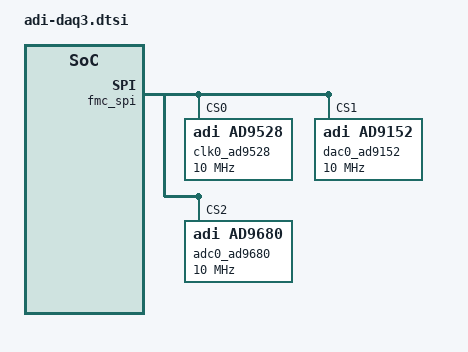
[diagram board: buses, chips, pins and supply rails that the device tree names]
// SPDX-License-Identifier: GPL-2.0
/*
 * Analog Devices AD-FMCDAQ3-EBZ
 * https://wiki.analog.com/resources/eval/user-guides/ad-fmcdaq3-ebz
 *
 * board_revision: <Rev.C>
 *
 * Copyright (C) 2018-2022 Analog Devices Inc.
 */
#include <dt-bindings/iio/frequency/ad9528.h>
#include <dt-bindings/iio/adc/adi,ad9208.h>

&fmc_spi {
	clk0_ad9528: ad9528@0 {
		#address-cells = <1>;
		#size-cells = <0>;
		compatible = "adi,ad9528";

		spi-cpol;
		spi-cpha;
		spi-max-frequency = <10000000>;
		adi,spi-3wire-enable;
		reg = <0>;

		clock-output-names = "ad9528_out0", "ad9528_out1", "ad9528_out2", "ad9528_out3", "ad9528_out4", "ad9528_out5", "ad9528_out6", "ad9528_out7", "ad9528_out8", "ad9528_out9", "ad9528_out10", "ad9528_out11", "ad9528_out12", "ad9528_out13";
		#clock-cells = <1>;

		adi,vcxo-freq = <100000000>;

		jesd204-device;
		#jesd204-cells = <2>;
		jesd204-sysref-provider;

		/* PLL1 config */
		adi,pll1-bypass-enable;
		adi,osc-in-diff-enable;

		/* PLL2 config */
		/*
		 * Valid ranges based on VCO locking range:
		 *   1150.000 MHz - 1341.666 MHz
		 *    862.500 MHz - 1006.250 MHz
		 *    690.000 MHz -  805.000 MHz
		 */
		adi,pll2-m1-frequency = <1233333333>;
		adi,pll2-charge-pump-current-nA = <35000>;

		/* SYSREF config */
		adi,sysref-src = <SYSREF_SRC_INTERNAL>;
		adi,sysref-k-div = <64>;
		adi,sysref-pattern-mode = <SYSREF_PATTERN_CONTINUOUS>;

		adi,rpole2 = <RPOLE2_900_OHM>;
		adi,rzero = <RZERO_1850_OHM>;
		adi,cpole1 = <CPOLE1_16_PF>;

		ad9528_0_c2: channel@2 {
			reg = <2>;
			adi,extended-name = "DAC_CLK";
			adi,driver-mode = <DRIVER_MODE_LVDS>;
			adi,divider-phase = <0>;
			adi,channel-divider = <1>;
			adi,signal-source = <SOURCE_VCO>;
		};

		ad9528_0_c4: channel@4 {
			reg = <4>;
			adi,extended-name = "DAC_CLK_FMC";
			adi,driver-mode = <DRIVER_MODE_LVDS>;
			adi,divider-phase = <0>;
			adi,channel-divider = <4>;
			adi,signal-source = <SOURCE_VCO>;
		};

		ad9528_0_c5: channel@5 {
			reg = <5>;
			adi,extended-name = "DAC_SYSREF";
			adi,driver-mode = <DRIVER_MODE_LVDS>;
			adi,divider-phase = <0>;
			adi,channel-divider = <4>;
			adi,signal-source = <SOURCE_SYSREF_VCO>;
			adi,jesd204-sysref-chan;
		};

		ad9528_0_c6: channel@6 {
			reg = <6>;
			adi,extended-name = "CLKD_DAC_SYSREF";
			adi,driver-mode = <DRIVER_MODE_LVDS>;
			adi,divider-phase = <0>;
			adi,channel-divider = <4>;
			adi,signal-source = <SOURCE_SYSREF_VCO>;
			adi,jesd204-sysref-chan;
		};

		ad9528_0_c7: channel@7 {
			reg = <7>;
			adi,extended-name = "CLKD_ADC_SYSREF";
			adi,driver-mode = <DRIVER_MODE_LVDS>;
			adi,divider-phase = <0>;
			adi,channel-divider = <4>;
			adi,signal-source = <SOURCE_SYSREF_VCO>;
			adi,jesd204-sysref-chan;
		};

		ad9528_0_c8: channel@8 {
			reg = <8>;
			adi,extended-name = "ADC_SYSREF";
			adi,driver-mode = <DRIVER_MODE_LVDS>;
			adi,divider-phase = <0>;
			adi,channel-divider = <4>;
			adi,signal-source = <SOURCE_SYSREF_VCO>;
			adi,jesd204-sysref-chan;
		};

		ad9528_0_c9: channel@9 {
			reg = <9>;
			adi,extended-name = "ADC_CLK_FMC";
			adi,driver-mode = <DRIVER_MODE_LVDS>;
			adi,divider-phase = <0>;
			adi,channel-divider = <4>;
			adi,signal-source = <SOURCE_VCO>;
		};

		ad9528_0_c13: channel@13 {
			reg = <13>;
			adi,extended-name = "ADC_CLK";
			adi,driver-mode = <DRIVER_MODE_LVDS>;
			adi,divider-phase = <0>;
			adi,channel-divider = <1>;
			adi,signal-source = <SOURCE_VCO>;
		};
	};

	dac0_ad9152: ad9152@1 {
		#address-cells = <1>;
		#size-cells = <0>;
		compatible = "adi,ad9152";

		spi-cpol;
		spi-cpha;
		spi-max-frequency = <10000000>;
		adi,spi-3wire-enable;
		reg = <1>;

		clocks = <&clk0_ad9528 2>;
		clock-names = "dac_clk";

		/*
		 * | MODE | M | L | S | F | HD | N  | N' |
		 * |  00  | 4 | 8 | 1 | 1 | 1  | 16 | 16 |
		 * |  01  | 4 | 8 | 2 | 2 | 0  | 16 | 16 |
		 * |  02  | 4 | 4 | 1 | 2 | 0  | 16 | 16 |
		 * |  03  | 4 | 2 | 1 | 4 | 0  | 16 | 16 |
		 * |  04  | 2 | 4 | 1 | 1 | 1  | 16 | 16 |
		 * |  05  | 2 | 4 | 2 | 2 | 0  | 16 | 16 |
		 * |  06  | 2 | 2 | 1 | 2 | 0  | 16 | 16 |
		 * |  07  | 2 | 1 | 1 | 4 | 0  | 16 | 16 |
		 * |  08  | 1 | 4 | 2 | 1 | 1  | 16 | 16 |
		 * |  09  | 1 | 2 | 1 | 1 | 1  | 16 | 16 |
		 * |  10  | 1 | 1 | 1 | 2 | 0  | 16 | 16 |
		 * |  11  | 2 | 8 | 2 | 1 | 1  | 16 | 16 |
		 * |  12  | 2 | 4 | 1 | 1 | 1  | 16 | 16 |
		 * |  13  | 2 | 2 | 1 | 2 | 0  | 16 | 16 |
		 */

		adi,jesd-link-mode = <4>;
		adi,sysref-mode = <1>; /* JESD204_SYSREF_CONTINUOUS */
		adi,subclass = <1>;
		adi,interpolation = <1>;
		adi,frequency-center-shift = <0>;

		/* jesd204-fsm support */
		jesd204-device;
		#jesd204-cells = <2>;
		jesd204-top-device = <1>; /* This is the TOP device */
		jesd204-link-ids = <0>;
		jesd204-inputs = <&axi_ad9152_core 1 0>;
		//jesd204-ignore-errors;
	};

	adc0_ad9680: ad9680@2 {
		#address-cells = <1>;
		#size-cells = <0>;
		compatible = "adi,ad9680";

		spi-cpol;
		spi-cpha;
		spi-max-frequency = <10000000>;
		adi,spi-3wire-enable;
		reg = <2>;

		/* Content of Registers: 0x16, 0x18, 0x19, 0x1A, 0x30, 0x11A, 0x934, 0x935 */
		adi,sfdr-optimization-config = <0xE 0xA0 0x50 0x09 0x18 0x00 0x1F 0x04>;

		clocks = <&clk0_ad9528 13>;
		clock-names = "adc_clk";

		/* jesd204-fsm support */
		jesd204-device;
		#jesd204-cells = <2>;
		jesd204-top-device = <0>; /* This is the TOP device */
		jesd204-link-ids = <0>;
		jesd204-inputs = <&axi_ad9680_core 0 0>;
		//jesd204-ignore-errors;

		adi,powerdown-mode = <AD9208_PDN_MODE_POWERDOWN>;

		adi,sampling-frequency = /bits/ 64 <1233333333>;
		adi,input-clock-divider-ratio = <1>;

		adi,sysref-lmfc-offset = <0>;
		adi,sysref-pos-window-skew = <0>;
		adi,sysref-neg-window-skew = <0>;
		adi,sysref-mode = <AD9208_SYSREF_CONT>;
		adi,sysref-nshot-ignore-count = <0>;

		/* JESD204 parameters */

		adi,converters-per-device = <2>;	/* JESD204 (M) */
		adi,lanes-per-device = <4>;		/* JESD204 (L) */
		adi,octets-per-frame = <1>;		/* JESD204 (F) */
		adi,frames-per-multiframe = <32>;	/* JESD204 (K) */
		adi,converter-resolution = <14>;	/* JESD204 (N) */
		adi,bits-per-sample = <16>;		/* JESD204 (N') */
		adi,control-bits-per-sample = <2>;	/* JESD204 (CS) */
		adi,subclass = <1>;			/* JESD204 (SUBCLASSV) */

		/* DDC setup */

		adi,ddc-channel-number = <AD9208_FULL_BANDWIDTH_MODE>;

		ad9208_ddc0: channel@0 {
			reg = <0>;
			adi,decimation = <2>;
			adi,nco-mode-select = <AD9208_NCO_MODE_VIF>;
			adi,nco-channel-carrier-frequency-hz = /bits/ 64 <70000000>;
			adi,nco-channel-phase-offset = /bits/ 64 <0>;
		};
	};
};
